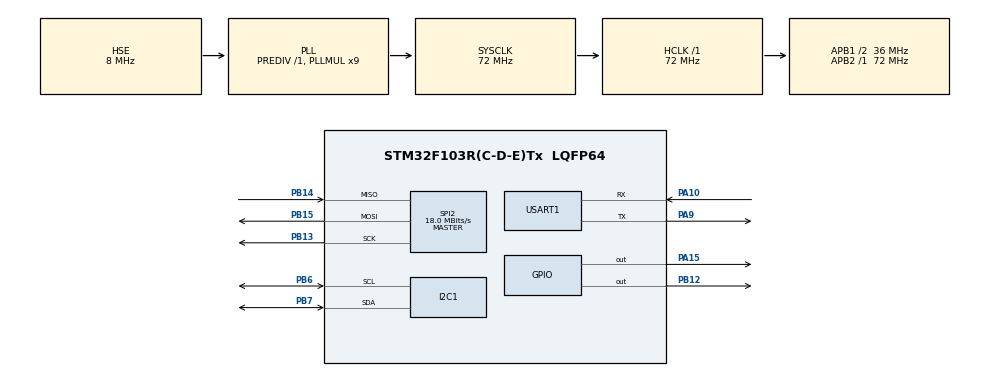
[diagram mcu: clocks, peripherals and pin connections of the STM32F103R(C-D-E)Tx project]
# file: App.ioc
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I2C1.I2C_Mode=I2C_Fast
Mcu.Family=STM32F1
Mcu.Name=STM32F103R(C-D-E)Tx
Mcu.Package=LQFP64
NVIC.PriorityGroup=NVIC_PRIORITYGROUP_4
PA10.Mode=Asynchronous
PA10.Signal=USART1_RX
PA13.Mode=Serial_Wire
PA13.Signal=SYS_JTMS-SWDIO
PA14.Mode=Serial_Wire
PA14.Signal=SYS_JTCK-SWCLK
PA15.Signal=GPIO_Output
PA9.Mode=Asynchronous
PA9.Signal=USART1_TX
PB12.PinState=GPIO_PIN_SET
PB12.Signal=GPIO_Output
PB13.Mode=Full_Duplex_Master
PB13.Signal=SPI2_SCK
PB14.Mode=Full_Duplex_Master
PB14.Signal=SPI2_MISO
PB15.Mode=Full_Duplex_Master
PB15.Signal=SPI2_MOSI
PB6.Mode=I2C
PB6.Signal=I2C1_SCL
PB7.Mode=I2C
PB7.Signal=I2C1_SDA
PD0-OSC_IN.Mode=HSE-External-Oscillator
PD0-OSC_IN.Signal=RCC_OSC_IN
PD1-OSC_OUT.Mode=HSE-External-Oscillator
PD1-OSC_OUT.Signal=RCC_OSC_OUT
ProjectManager.HeapSize=0x200
ProjectManager.StackSize=0x400
ProjectManager.TargetToolchain=MDK-ARM V5
RCC.AHBFreq_Value=72000000
RCC.APB1CLKDivider=RCC_HCLK_DIV2
RCC.APB1Freq_Value=36000000
RCC.APB1TimFreq_Value=72000000
RCC.APB2Freq_Value=72000000
RCC.APB2TimFreq_Value=72000000
RCC.HCLKFreq_Value=72000000
RCC.PLLMUL=RCC_PLL_MUL9
RCC.PLLSourceVirtual=RCC_PLLSOURCE_HSE
RCC.SYSCLKFreq_VALUE=72000000
RCC.SYSCLKSource=RCC_SYSCLKSOURCE_PLLCLK
RCC.USBFreq_Value=72000000
SPI2.CalculateBaudRate=18.0 MBits/s
SPI2.Direction=SPI_DIRECTION_2LINES
SPI2.Mode=SPI_MODE_MASTER
SPI2.VirtualType=VM_MASTER
USART1.VirtualMode=VM_ASYNC
board=custom

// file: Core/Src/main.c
/* USER CODE BEGIN Header */
/**
	******************************************************************************
	* @file           : main.c
	* @brief          : Main program body
	******************************************************************************
	* @attention
	*
	* Copyright (c) 2026 STMicroelectronics.
	* All rights reserved.
	*
	* This software is licensed under terms that can be found in the LICENSE file
	* in the root directory of this software component.
	* If no LICENSE file comes with this software, it is provided AS-IS.
	*
	******************************************************************************
	*/
/* USER CODE END Header */
#include "main.h"

/* USER CODE BEGIN Includes */
#include <stdio.h>      // printf 和 FILE 类型的声明
#include "w25q.h"       // w25q_read_id 的声明
#include "ota_meta.h"
#include "crc32.h"      // crc32_flash 的声明，算 A/B 区 CRC 用
#include "FreeRTOS.h"
#include "task.h"
#include "app_oled.h"
/* USER CODE END Includes */

I2C_HandleTypeDef hi2c1;

SPI_HandleTypeDef hspi2;

UART_HandleTypeDef huart1;

void SystemClock_Config(void);
static void MX_GPIO_Init(void);
static void MX_SPI2_Init(void);
static void MX_USART1_UART_Init(void);
static void MX_I2C1_Init(void);

/* USER CODE BEGIN 0 */

#define FW_SIZE  16384                                      // 升级包大小，和 Bootloader 的 COPY_SIZE 一致

static int ota_copy_to_b(void)									// 从 W25Q 读升级包写进 B 区，0 成功
{
	static uint8_t buf[256];                                // 一页缓冲
	uint32_t off, i, bad = 0, err = 0;                      // 偏移、下标、错误计数、擦除错误页号
	FLASH_EraseInitTypeDef e;                               // 擦除参数结构体

	printf("[App] erase B...\r\n");                         // 开始擦 B 区

	HAL_FLASH_Unlock();                                     // 解锁 Flash 控制寄存器
	__HAL_FLASH_CLEAR_FLAG(FLASH_FLAG_EOP | FLASH_FLAG_PGERR | FLASH_FLAG_WRPERR);  // 清残留错误标志

	e.TypeErase   = FLASH_TYPEERASE_PAGES;                  // 按页擦
	e.PageAddress = OTA_SLOT_B_ADDR;                        // B 区起始地址 0x0801C000
	e.NbPages     = FW_SIZE / 2048;                         // 16KB / 2KB = 8 页

	if (HAL_FLASHEx_Erase(&e, &err) != HAL_OK)              // 擦失败就退出
	{
		HAL_FLASH_Lock();                                   // 锁回去
		printf("[App] erase fail, page err = %u\r\n", err);  // 报错
		return -1;                                          // -1 表示擦除失败
	}

	printf("[App] copy W25Q -> B...\r\n");                  // 开始搬

	for (off = 0; off < FW_SIZE; off += 256)                // 16KB / 256 = 64 页
	{
		w25q_read(off, buf, 256);                           // 从 W25Q 读一页

		for (i = 0; i < 256; i += 4)                        // 一页拆成 64 个字
		{
			uint32_t w = (uint32_t)buf[i]                   // 小端拼接：低字节在前
				| ((uint32_t)buf[i + 1] << 8)               // 第 2 个字节左移 8 位
				| ((uint32_t)buf[i + 2] << 16)              // 第 3 个字节左移 16 位
				| ((uint32_t)buf[i + 3] << 24);             // 第 4 个字节左移 24 位

			if (HAL_FLASH_Program(FLASH_TYPEPROGRAM_WORD,   // 一次写 32 位
					OTA_SLOT_B_ADDR + off + i,              // 写到 B 区的对应位置
					w) != HAL_OK)                           // 要写的内容
			{
				HAL_FLASH_Lock();                           // 锁回去
				printf("[App] write fail at %u\r\n", off + i);  // 报错
				return -2;                                  // -2 表示写入失败
			}
		}
	}

	HAL_FLASH_Lock();                                       // 写完上锁

	printf("[App] verify...\r\n");                          // 开始回读比对

	for (off = 0; off < FW_SIZE; off += 256)                // 再走一遍
	{
		w25q_read(off, buf, 256);                           // 从 W25Q 再读一页
		for (i = 0; i < 256; i++)                           // 逐字节比
			if (buf[i] != *(volatile uint8_t *)(OTA_SLOT_B_ADDR + off + i))	// 和 B 区的对应字节比
				bad++;                                      // 不一致就加一
	}

printf("[App] copy to B: %u bytes, bad %u\r\n", FW_SIZE, bad);  // 报结果

	if (bad != 0)                                                   // 比对发现有字节不一样
	{
		printf("[App] B corrupt, meta not saved\r\n");              // B 区不可信
		return -3;                                                  // 直接退出，元数据一个字不动
	}

	ota_meta_t meta;                                                // 用来装当前元数据
	ota_meta_load(&meta);                                           // 从 Flash 最后一页读出来

	if (!ota_meta_is_valid(&meta))                                  // 没初始化过，或者被写坏了
	{
		ota_meta_set_default(&meta);                                // 先填默认值，后面再覆盖字段
	}

	meta.crc_a       = crc32_flash(OTA_SLOT_A_ADDR, FW_SIZE);       // A 区这 16KB 的 CRC
	meta.crc_b       = crc32_flash(OTA_SLOT_B_ADDR, FW_SIZE);       // B 区这 16KB 的 CRC
	meta.trial       = 1;                                           // 标记成试启动，等 App 自检后再清
	meta.boot_count  = 0;                                           // 试启动失败次数从 0 开始
	meta.active_slot = OTA_SLOT_B;                                  // 下次上电启动 B 区
	meta.ota_req     = 0;                                           // 请求已经处理完，清掉
	ota_meta_save(&meta);                                           // 写回 Flash，save 里会重算 crc_meta

	printf("[App] meta: slot=%d trial=%d cnt=%d crc_a=0x%08X crc_b=0x%08X\r\n",  // 打印确认
		meta.active_slot, meta.trial, meta.boot_count,              // 槽号、试启动、失败次数
		meta.crc_a, meta.crc_b);                                    // 两个槽的 CRC

	return 0;                                                       // 成功
}

void vApplicationMallocFailedHook(void)                             // 堆不够时进来
{
	taskDISABLE_INTERRUPTS();                                       // 关中断，停在原地
	for (;;)
	{
	}
}

void vApplicationStackOverflowHook(TaskHandle_t xTask, char *pcTaskName)  // 任务栈溢出时进来
{
	(void)xTask;
	(void)pcTaskName;
	taskDISABLE_INTERRUPTS();                                       // 关中断，停在原地
	for (;;)
	{
	}
}
/* USER CODE END 0 */

int main(void)
{

  /* MCU Configuration--------------------------------------------------------*/

  /* Reset of all peripherals, Initializes the Flash interface and the Systick. */
  HAL_Init();

  /* Configure the system clock */
  SystemClock_Config();

  /* Initialize all configured peripherals */
  MX_GPIO_Init();
  MX_SPI2_Init();
  MX_USART1_UART_Init();
  MX_I2C1_Init();
  /* USER CODE BEGIN 2 */

	printf("[App] W25Q ID = 0x%06X\r\n", w25q_read_id());   // 读 JEDEC ID，验证 App 侧 SPI 通不通
	printf("[App] hello\r\n");                              // 确认 printf 本身能用

	printf("[App] main=0x%08X VTOR=0x%08X\r\n",                     // 本镜像的链接地址
  (uint32_t)&main, SCB->VTOR);                                // 和向量表基址

	ota_meta_t meta;                                                // 当前元数据
	uint8_t running_a;                                              // 1 = 现在跑在 A 区
	uint8_t b_active;                                               // 1 = B 是当前活动槽

	ota_meta_load(&meta);                                           // 从 Flash 读元数据
	running_a = (SCB->VTOR == OTA_SLOT_A_ADDR);                     // 向量表在 A 就说明跑在 A
	b_active  = ota_meta_is_valid(&meta)                            // 元数据可信
		&& (meta.active_slot == OTA_SLOT_B);                        // 而且目标是 B

	if (running_a && !b_active && meta.ota_req == 1)                // 跑在 A、B 不是目标、而且有升级请求
	{
		ota_copy_to_b();                                            // 才允许写 B 区
	}
	else                                                            // 其它情况
	{
		printf("[App] skip ota, vtor=0x%08X slot=%d req=%d\r\n",    // 不动 Flash
			SCB->VTOR, meta.active_slot, meta.ota_req);             // 打出来看原因
	}

	// ===== 试启动确认：能跑到这里，说明固件活到了 main =====
	if (ota_meta_is_valid(&meta) && meta.trial == 1)                // 这次是试启动
	{
		if (SCB->VTOR == ota_slot_addr(meta.active_slot))           // 跑的就是活动槽
		{
			meta.trial = 0;                                         // 确认能跑
			meta.boot_count = 0;                                    // 计数归零
			ota_meta_save(&meta);                                   // 写回
			printf("[App] confirmed, trial cleared\r\n");           // 打印
		}
		else                                                        // 回退上来的
		{
			printf("[App] fallback boot, not confirm\r\n");         // 不清 trial
		}
	}

	app_oled_start(&hi2c1);                                      // 初始化 OLED，建显示任务
	vTaskStartScheduler();                                       // 启动调度器，正常不返回
  /* USER CODE END 2 */

  /* Infinite loop */
	while (1)
	{

	}
}

void SystemClock_Config(void)
{
  RCC_OscInitTypeDef RCC_OscInitStruct = {0};
  RCC_ClkInitTypeDef RCC_ClkInitStruct = {0};

  /** Initializes the RCC Oscillators according to the specified parameters
  * in the RCC_OscInitTypeDef structure.
  */
  RCC_OscInitStruct.OscillatorType = RCC_OSCILLATORTYPE_HSE;
  RCC_OscInitStruct.HSEState = RCC_HSE_ON;
  RCC_OscInitStruct.HSEPredivValue = RCC_HSE_PREDIV_DIV1;
  RCC_OscInitStruct.HSIState = RCC_HSI_ON;
  RCC_OscInitStruct.PLL.PLLState = RCC_PLL_ON;
  RCC_OscInitStruct.PLL.PLLSource = RCC_PLLSOURCE_HSE;
  RCC_OscInitStruct.PLL.PLLMUL = RCC_PLL_MUL9;
  if (HAL_RCC_OscConfig(&RCC_OscInitStruct) != HAL_OK)
  {
    Error_Handler();
  }

  /** Initializes the CPU, AHB and APB buses clocks
  */
  RCC_ClkInitStruct.ClockType = RCC_CLOCKTYPE_HCLK|RCC_CLOCKTYPE_SYSCLK
                              |RCC_CLOCKTYPE_PCLK1|RCC_CLOCKTYPE_PCLK2;
  RCC_ClkInitStruct.SYSCLKSource = RCC_SYSCLKSOURCE_PLLCLK;
  RCC_ClkInitStruct.AHBCLKDivider = RCC_SYSCLK_DIV1;
  RCC_ClkInitStruct.APB1CLKDivider = RCC_HCLK_DIV2;
  RCC_ClkInitStruct.APB2CLKDivider = RCC_HCLK_DIV1;

  if (HAL_RCC_ClockConfig(&RCC_ClkInitStruct, FLASH_LATENCY_2) != HAL_OK)
  {
    Error_Handler();
  }
}

static void MX_I2C1_Init(void)
{

  hi2c1.Instance = I2C1;
  hi2c1.Init.ClockSpeed = 400000;
  hi2c1.Init.DutyCycle = I2C_DUTYCYCLE_2;
  hi2c1.Init.OwnAddress1 = 0;
  hi2c1.Init.AddressingMode = I2C_ADDRESSINGMODE_7BIT;
  hi2c1.Init.DualAddressMode = I2C_DUALADDRESS_DISABLE;
  hi2c1.Init.OwnAddress2 = 0;
  hi2c1.Init.GeneralCallMode = I2C_GENERALCALL_DISABLE;
  hi2c1.Init.NoStretchMode = I2C_NOSTRETCH_DISABLE;
  if (HAL_I2C_Init(&hi2c1) != HAL_OK)
  {
    Error_Handler();
  }

}

static void MX_SPI2_Init(void)
{

  /* SPI2 parameter configuration*/
  hspi2.Instance = SPI2;
  hspi2.Init.Mode = SPI_MODE_MASTER;
  hspi2.Init.Direction = SPI_DIRECTION_2LINES;
  hspi2.Init.DataSize = SPI_DATASIZE_8BIT;
  hspi2.Init.CLKPolarity = SPI_POLARITY_LOW;
  hspi2.Init.CLKPhase = SPI_PHASE_1EDGE;
  hspi2.Init.NSS = SPI_NSS_SOFT;
  hspi2.Init.BaudRatePrescaler = SPI_BAUDRATEPRESCALER_2;
  hspi2.Init.FirstBit = SPI_FIRSTBIT_MSB;
  hspi2.Init.TIMode = SPI_TIMODE_DISABLE;
  hspi2.Init.CRCCalculation = SPI_CRCCALCULATION_DISABLE;
  hspi2.Init.CRCPolynomial = 10;
  if (HAL_SPI_Init(&hspi2) != HAL_OK)
  {
    Error_Handler();
  }

}

static void MX_USART1_UART_Init(void)
{

  huart1.Instance = USART1;
  huart1.Init.BaudRate = 115200;
  huart1.Init.WordLength = UART_WORDLENGTH_8B;
  huart1.Init.StopBits = UART_STOPBITS_1;
  huart1.Init.Parity = UART_PARITY_NONE;
  huart1.Init.Mode = UART_MODE_TX_RX;
  huart1.Init.HwFlowCtl = UART_HWCONTROL_NONE;
  huart1.Init.OverSampling = UART_OVERSAMPLING_16;
  if (HAL_UART_Init(&huart1) != HAL_OK)
  {
    Error_Handler();
  }

}

static void MX_GPIO_Init(void)
{
  GPIO_InitTypeDef GPIO_InitStruct = {0};

  /* GPIO Ports Clock Enable */
  __HAL_RCC_GPIOD_CLK_ENABLE();
  __HAL_RCC_GPIOB_CLK_ENABLE();
  __HAL_RCC_GPIOA_CLK_ENABLE();

  /*Configure GPIO pin Output Level */
  HAL_GPIO_WritePin(GPIOB, GPIO_PIN_12, GPIO_PIN_SET);

  /*Configure GPIO pin Output Level */
  HAL_GPIO_WritePin(GPIOA, GPIO_PIN_15, GPIO_PIN_RESET);

  /*Configure GPIO pin : PB12 */
  GPIO_InitStruct.Pin = GPIO_PIN_12;
  GPIO_InitStruct.Mode = GPIO_MODE_OUTPUT_PP;
  GPIO_InitStruct.Pull = GPIO_NOPULL;
  GPIO_InitStruct.Speed = GPIO_SPEED_FREQ_LOW;
  HAL_GPIO_Init(GPIOB, &GPIO_InitStruct);

  /*Configure GPIO pin : PA15 */
  GPIO_InitStruct.Pin = GPIO_PIN_15;
  GPIO_InitStruct.Mode = GPIO_MODE_OUTPUT_PP;
  GPIO_InitStruct.Pull = GPIO_NOPULL;
  GPIO_InitStruct.Speed = GPIO_SPEED_FREQ_LOW;
  HAL_GPIO_Init(GPIOA, &GPIO_InitStruct);

}

/* USER CODE BEGIN 4 */

// 重定向 printf 到串口1
int fputc(int ch, FILE *f)                                          // printf 每输出一个字符就调它一次
{
	HAL_UART_Transmit(&huart1, (uint8_t *)&ch, 1, HAL_MAX_DELAY);   // 用串口1发这一个字节，死等到发完
	return ch;                                                      // 原样返回，不然 printf 以为写失败会中断
}

/* USER CODE END 4 */

void Error_Handler(void)
{
	__disable_irq();
	while (1)
	{
	}
}
